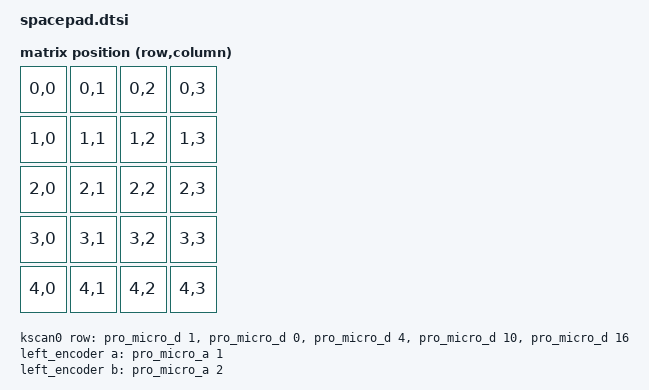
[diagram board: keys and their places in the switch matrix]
/*
 * Copyright (c) 2020 The ZMK Contributors
 *
 * SPDX-License-Identifier: MIT
 */

#include <dt-bindings/zmk/matrix_transform.h>

/ {
	chosen {
		zmk,kscan = &kscan0;
		zmk,matrix_transform = &default_transform;
	};

	default_transform: keymap_transform_0 {
		compatible = "zmk,matrix-transform";
		columns = <4>;
		rows = <5>;

		map = <
RC(0,0) RC(0,1) RC(0,2) RC(0,3)
RC(1,0) RC(1,1) RC(1,2) RC(1,3)
RC(2,0) RC(2,1) RC(2,2) RC(2,3)
RC(3,0) RC(3,1) RC(3,2) RC(3,3)
RC(4,0) RC(4,1) RC(4,2) RC(4,3)
		>;
	};

	kscan0: kscan {
		compatible = "zmk,kscan-gpio-matrix";
		label = "KSCAN";

		diode-direction = "row2col";

		row-gpios
			= <&pro_micro_d 1 (GPIO_ACTIVE_HIGH | GPIO_PULL_DOWN)>
			, <&pro_micro_d 0 (GPIO_ACTIVE_HIGH | GPIO_PULL_DOWN)>
			, <&pro_micro_d 4 (GPIO_ACTIVE_HIGH | GPIO_PULL_DOWN)>
			, <&pro_micro_d 10 (GPIO_ACTIVE_HIGH | GPIO_PULL_DOWN)>
			, <&pro_micro_d 16 (GPIO_ACTIVE_HIGH | GPIO_PULL_DOWN)>
			;

	};

	left_encoder: encoder_left {
		compatible = "alps,ec11";
		label = "LEFT_ENCODER";
		a-gpios = <&pro_micro_a 1 (GPIO_ACTIVE_HIGH | GPIO_PULL_UP)>;
		b-gpios = <&pro_micro_a 2 (GPIO_ACTIVE_HIGH | GPIO_PULL_UP)>;
		resolution = <4>;
		status = "okay";
	};

	sensors {
		compatible = "zmk,keymap-sensors";
		sensors = <&left_encoder>;
	};

	// TODO: per-key RGB node(s)?
};
